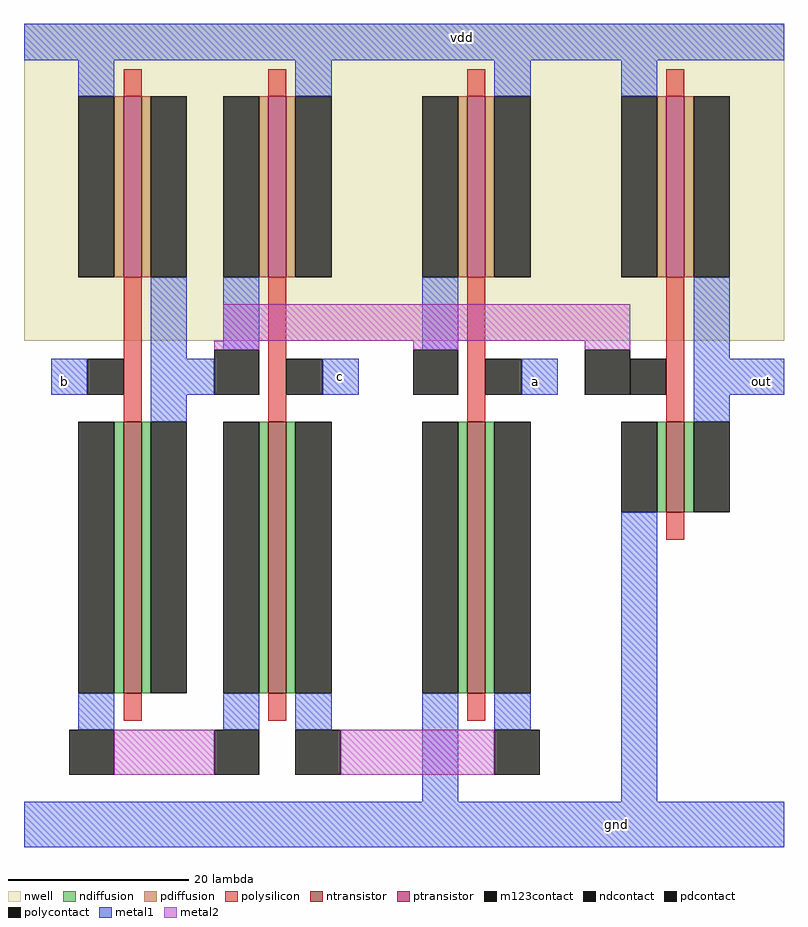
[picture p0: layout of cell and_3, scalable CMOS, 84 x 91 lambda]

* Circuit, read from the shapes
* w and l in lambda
.subckt and_3 a b c gnd out vdd
M1 n1 b n2 VSUBS nfet w=30 l=2
M2 n3 c n2 VSUBS nfet w=30 l=2
M3 n3 a gnd VSUBS nfet w=30 l=2
M4 out n1 gnd VSUBS nfet w=10 l=2
M5 n1 b vdd n4 pfet w=20 l=2
M6 vdd c n1 n4 pfet w=20 l=2
M7 vdd a n1 n4 pfet w=20 l=2
M8 out n1 vdd n4 pfet w=20 l=2
.ends

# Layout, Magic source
magic
tech scmos
<< nwell >>
rect -22 46 62 81
<< ntransistor >>
rect -11 7 -9 37
rect 5 7 7 37
rect 27 7 29 37
rect 49 27 51 37
<< ptransistor >>
rect -11 53 -9 73
rect 5 53 7 73
rect 27 53 29 73
rect 49 53 51 73
<< ndiffusion >>
rect -12 7 -11 37
rect -9 7 -8 37
rect 4 7 5 37
rect 7 7 8 37
rect 26 7 27 37
rect 29 7 30 37
rect 48 27 49 37
rect 51 27 52 37
<< pdiffusion >>
rect -12 53 -11 73
rect -9 53 -8 73
rect 4 53 5 73
rect 7 53 8 73
rect 26 53 27 73
rect 29 53 30 73
rect 48 53 49 73
rect 51 53 52 73
<< ndcontact >>
rect -16 7 -12 37
rect -8 7 -4 37
rect 0 7 4 37
rect 8 7 12 37
rect 22 7 26 37
rect 30 7 34 37
rect 44 27 48 37
rect 52 27 56 37
<< pdcontact >>
rect -16 53 -12 73
rect -8 53 -4 73
rect 0 53 4 73
rect 8 53 12 73
rect 22 53 26 73
rect 30 53 34 73
rect 44 53 48 73
rect 52 53 56 73
<< polysilicon >>
rect -11 73 -9 76
rect 5 73 7 76
rect 27 73 29 76
rect 49 73 51 76
rect -11 37 -9 53
rect 5 37 7 53
rect 27 37 29 53
rect 49 37 51 53
rect 49 24 51 27
rect -11 4 -9 7
rect 5 4 7 7
rect 27 4 29 7
<< polycontact >>
rect -15 40 -11 44
rect 7 40 11 44
rect 29 40 33 44
rect 45 40 49 44
<< metal1 >>
rect -22 77 62 81
rect -16 73 -12 77
rect 8 73 12 77
rect 30 73 34 77
rect -8 44 -4 53
rect 44 73 48 77
rect 0 45 4 53
rect 22 45 26 53
rect -19 40 -15 44
rect -8 40 -1 44
rect 11 40 15 44
rect 33 40 37 44
rect 52 44 56 53
rect 52 40 62 44
rect -8 37 -4 40
rect 52 37 56 40
rect -16 3 -12 7
rect 0 3 4 7
rect 8 3 12 7
rect 22 -5 26 7
rect 30 3 34 7
rect 44 -5 48 27
rect -22 -10 62 -5
<< metal2 >>
rect 0 46 45 50
rect -1 45 4 46
rect 21 45 26 46
rect 40 45 45 46
rect -12 -2 -1 3
rect 13 -2 30 3
<< m123contact >>
rect -1 40 4 45
rect 21 40 26 45
rect 40 40 45 45
rect -17 -2 -12 3
rect -1 -2 4 3
rect 8 -2 13 3
rect 30 -2 35 3
<< labels >>
rlabel metal1 59 41 60 42 7 out
rlabel metal1 34 41 35 42 1 a
rlabel metal1 26 79 27 80 5 vdd
rlabel metal1 -18 41 -17 42 3 b
rlabel metal1 13 42 13 42 1 c
rlabel metal1 43 -8 44 -7 1 gnd
<< end >>
